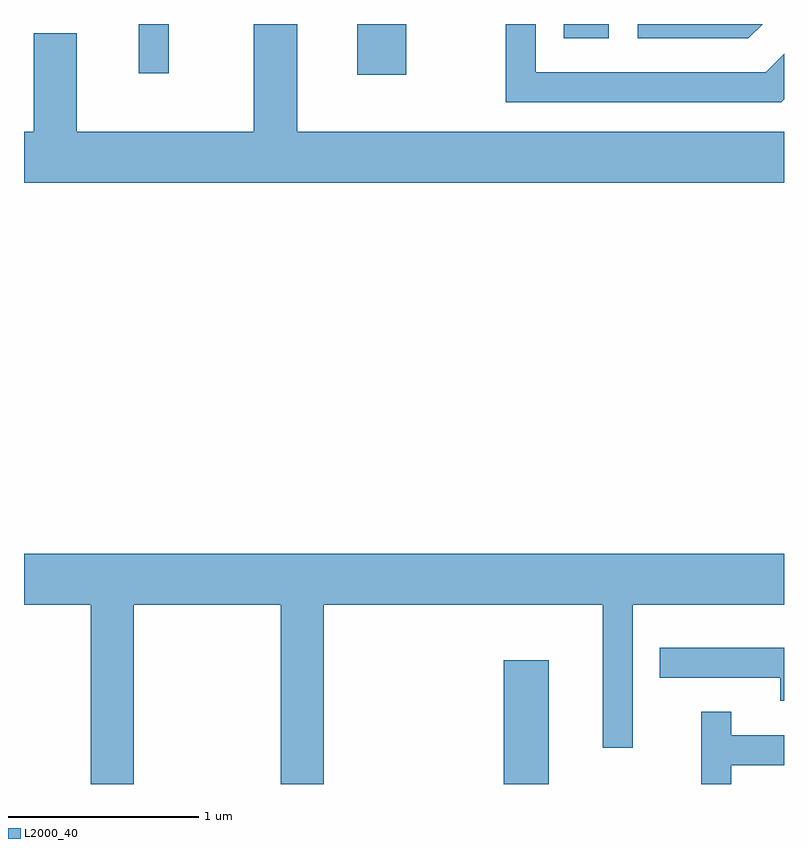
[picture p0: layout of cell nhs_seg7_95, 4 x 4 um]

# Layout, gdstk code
import gdstk
lib = gdstk.Library(unit=1e-6, precision=1e-09)
def R(c, l, rs):  # rectangles x0, y0, x1, y1
    for r in rs: c.add(gdstk.rectangle(r[:2], r[2:], *l))
def P(c, l, *ps):  # polygons
    for p in ps: c.add(gdstk.Polygon(p, *l))
L2000_40 = (2000, 40)

nhs_seg7_95 = lib.new_cell('nhs_seg7_95')
R(nhs_seg7_95, L2000_40, [(190.136,1722.252,190.374,1722.904), (189.366,1725.986,189.624,1726.252), (188.216,1725.993,188.374,1726.252), (190.453,1726.176,190.689,1726.252)])
P(nhs_seg7_95, L2000_40, [(191.498,1726.252),(190.841,1726.252),(190.841,1726.176),(191.422,1726.176)],
  [(191.611,1725.684),(189.049,1725.684),(189.049,1726.252),(188.821,1726.252),(188.821,1725.684),(187.889,1725.684),(187.889,1726.204),(187.661,1726.204),(187.661,1725.684),(187.611,1725.684),(187.611,1725.416),(191.611,1725.416)],
  [(191.611,1725.855),(191.611,1726.096),(191.514,1725.999),(190.304,1725.999),(190.304,1726.252),(190.146,1726.252),(190.146,1725.841),(191.597,1725.841)],
  [(188.189,1723.196),(188.961,1723.196),(188.961,1722.252),(189.189,1722.252),(189.189,1723.196),(190.656,1723.196),(190.656,1722.443),(190.814,1722.443),(190.814,1723.196),(191.611,1723.196),(191.611,1723.464),(187.611,1723.464),(187.611,1723.196),(187.961,1723.196),(187.961,1722.252),(188.189,1722.252)],
  [(191.611,1722.969),(190.958,1722.969),(190.958,1722.811),(191.591,1722.811),(191.591,1722.691),(191.611,1722.691)],
  [(191.334,1722.351),(191.611,1722.351),(191.611,1722.509),(191.334,1722.509),(191.334,1722.633),(191.176,1722.633),(191.176,1722.252),(191.334,1722.252)])

lib.write_gds('nhs_seg7_95.gds')
